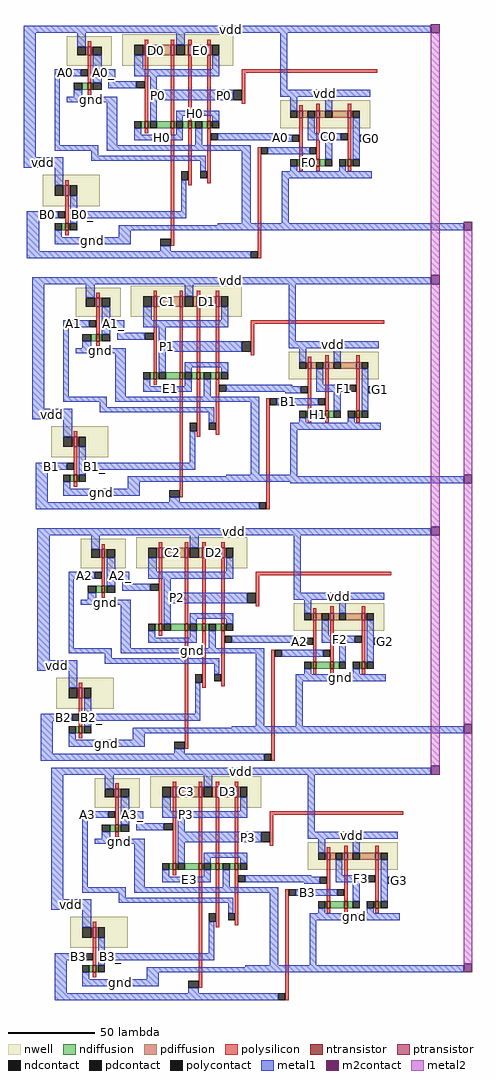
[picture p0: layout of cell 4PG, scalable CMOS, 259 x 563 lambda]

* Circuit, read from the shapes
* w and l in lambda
.subckt 4PG A0 A0_ A1 A1_ A2 A2_ A3 A3_ B0 B0_ B1 B1_ B2 B2_ B3 B3_ C0 C1 C2 C3 D0 D1 D2 D3 E0 E1 E2 E3 F0 F1 F2 F3 G0 G1 G2 G3 H0 H1 H2 P0 P1 P2 P3 gnd vdd
M1 B0_ B0 gnd VSUBS nfet w=4 l=2
M2 B1_ B1 gnd VSUBS nfet w=4 l=2
M3 B2_ B2 gnd VSUBS nfet w=4 l=2
M4 A0_ A0 gnd VSUBS nfet w=4 l=2
M5 B3_ B3 gnd VSUBS nfet w=4 l=2
M6 A1_ A1 gnd VSUBS nfet w=4 l=2
M7 A2_ A2 gnd VSUBS nfet w=4 l=2
M8 A3_ A3 gnd VSUBS nfet w=4 l=2
M9 P0 A0_ H0 VSUBS nfet w=4 l=2
M10 P1 A1_ E1 VSUBS nfet w=4 l=2
M11 P2 A2_ E2 VSUBS nfet w=4 l=2
M12 H0 B0 P0 VSUBS nfet w=4 l=2
M13 P3 A3_ E3 VSUBS nfet w=4 l=2
M14 E1 B1 P1 VSUBS nfet w=4 l=2
M15 E2 B2 P2 VSUBS nfet w=4 l=2
M16 gnd B0_ H0 VSUBS nfet w=4 l=2
M17 gnd B1_ E1 VSUBS nfet w=4 l=2
M18 E3 B3 P3 VSUBS nfet w=4 l=2
M19 gnd B2_ E2 VSUBS nfet w=4 l=2
M20 H0 A0 gnd VSUBS nfet w=4 l=2
M21 gnd B3_ E3 VSUBS nfet w=4 l=2
M22 E1 A1 gnd VSUBS nfet w=4 l=2
M23 E2 A2 gnd VSUBS nfet w=4 l=2
M24 E3 A3 gnd VSUBS nfet w=4 l=2
M25 F0 A0 gnd VSUBS nfet w=4 l=2
M26 H1 A1 gnd VSUBS nfet w=4 l=2
M27 H2 A2 gnd VSUBS nfet w=4 l=2
M28 C0 B0 F0 VSUBS nfet w=4 l=2
M29 F1 B1 H1 VSUBS nfet w=4 l=2
M30 n1 A3 gnd VSUBS nfet w=4 l=2
M31 F2 B2 H2 VSUBS nfet w=4 l=2
M32 F3 B3 n1 VSUBS nfet w=4 l=2
M33 G0 C0 gnd VSUBS nfet w=4 l=2
M34 G1 F1 gnd VSUBS nfet w=4 l=2
M35 G2 F2 gnd VSUBS nfet w=4 l=2
M36 G3 F3 gnd VSUBS nfet w=4 l=2
M37 B0_ B0 vdd n2 pfet w=6 l=2
M38 B1_ B1 vdd n3 pfet w=6 l=2
M39 B2_ B2 vdd n4 pfet w=6 l=2
M40 A0_ A0 vdd n5 pfet w=5 l=2
M41 B3_ B3 vdd n6 pfet w=6 l=2
M42 A1_ A1 vdd n7 pfet w=5 l=2
M43 A2_ A2 vdd n8 pfet w=5 l=2
M44 A3_ A3 vdd n9 pfet w=5 l=2
M45 D0 A0_ P0 n10 pfet w=6 l=2
M46 C1 A1_ P1 n11 pfet w=6 l=2
M47 C2 A2_ P2 n12 pfet w=6 l=2
M48 vdd B0 D0 n10 pfet w=6 l=2
M49 C3 A3_ P3 n13 pfet w=6 l=2
M50 vdd B1 C1 n11 pfet w=6 l=2
M51 vdd B2 C2 n12 pfet w=6 l=2
M52 E0 B0_ vdd n10 pfet w=6 l=2
M53 D1 B1_ vdd n11 pfet w=6 l=2
M54 vdd B3 C3 n13 pfet w=6 l=2
M55 D2 B2_ vdd n12 pfet w=6 l=2
M56 P0 A0 E0 n10 pfet w=6 l=2
M57 D3 B3_ vdd n13 pfet w=6 l=2
M58 P1 A1 D1 n11 pfet w=6 l=2
M59 P2 A2 D2 n12 pfet w=6 l=2
M60 P3 A3 D3 n13 pfet w=6 l=2
M61 C0 A0 vdd n14 pfet w=4 l=2
M62 F1 A1 vdd n15 pfet w=4 l=2
M63 F2 A2 vdd n16 pfet w=4 l=2
M64 vdd B0 C0 n14 pfet w=4 l=2
M65 vdd B1 F1 n15 pfet w=4 l=2
M66 F3 A3 vdd n17 pfet w=4 l=2
M67 vdd B2 F2 n16 pfet w=4 l=2
M68 vdd B3 F3 n17 pfet w=4 l=2
M69 G0 C0 vdd n14 pfet w=4 l=2
M70 G1 F1 vdd n15 pfet w=4 l=2
M71 G2 F2 vdd n16 pfet w=4 l=2
M72 G3 F3 vdd n17 pfet w=4 l=2
.ends

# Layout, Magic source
magic
tech scmos
<< nwell >>
rect -31 2 -5 19
rect 1 2 65 20
rect 92 -34 144 -18
rect -45 -79 -12 -61
rect -26 -143 0 -126
rect 6 -143 70 -125
rect 97 -179 149 -163
rect -40 -224 -7 -206
rect -23 -288 3 -271
rect 9 -288 73 -270
rect 100 -324 152 -308
rect -37 -369 -4 -351
rect -15 -426 11 -409
rect 17 -426 81 -408
rect 108 -462 160 -446
rect -29 -507 4 -489
<< ntransistor >>
rect -19 -12 -17 -8
rect 14 -34 16 -30
rect 29 -34 31 -30
rect 39 -34 41 -30
rect 50 -34 52 -30
rect -32 -93 -30 -89
rect 103 -56 105 -52
rect 113 -56 115 -52
rect 131 -56 133 -52
rect -14 -157 -12 -153
rect 19 -179 21 -175
rect 34 -179 36 -175
rect 44 -179 46 -175
rect 55 -179 57 -175
rect -27 -238 -25 -234
rect 108 -201 110 -197
rect 118 -201 120 -197
rect 136 -201 138 -197
rect -11 -302 -9 -298
rect 22 -324 24 -320
rect 37 -324 39 -320
rect 47 -324 49 -320
rect 58 -324 60 -320
rect -24 -383 -22 -379
rect 111 -346 113 -342
rect 121 -346 123 -342
rect 139 -346 141 -342
rect -3 -440 -1 -436
rect 30 -462 32 -458
rect 45 -462 47 -458
rect 55 -462 57 -458
rect 66 -462 68 -458
rect -16 -521 -14 -517
rect 119 -484 121 -480
rect 129 -484 131 -480
rect 147 -484 149 -480
<< ptransistor >>
rect -19 8 -17 13
rect 14 8 16 14
rect 29 8 31 14
rect 39 8 41 14
rect 50 8 52 14
rect 103 -28 105 -24
rect 113 -28 115 -24
rect 131 -28 133 -24
rect -32 -73 -30 -67
rect -14 -137 -12 -132
rect 19 -137 21 -131
rect 34 -137 36 -131
rect 44 -137 46 -131
rect 55 -137 57 -131
rect 108 -173 110 -169
rect 118 -173 120 -169
rect 136 -173 138 -169
rect -27 -218 -25 -212
rect -11 -282 -9 -277
rect 22 -282 24 -276
rect 37 -282 39 -276
rect 47 -282 49 -276
rect 58 -282 60 -276
rect 111 -318 113 -314
rect 121 -318 123 -314
rect 139 -318 141 -314
rect -24 -363 -22 -357
rect -3 -420 -1 -415
rect 30 -420 32 -414
rect 45 -420 47 -414
rect 55 -420 57 -414
rect 66 -420 68 -414
rect 119 -456 121 -452
rect 129 -456 131 -452
rect 147 -456 149 -452
rect -16 -501 -14 -495
<< ndiffusion >>
rect -22 -12 -19 -8
rect -17 -12 -16 -8
rect 12 -34 14 -30
rect 16 -34 17 -30
rect 21 -34 29 -30
rect 31 -34 32 -30
rect 36 -34 39 -30
rect 41 -34 43 -30
rect 47 -34 50 -30
rect 52 -34 53 -30
rect -34 -93 -32 -89
rect -30 -93 -29 -89
rect 102 -56 103 -52
rect 105 -56 113 -52
rect 115 -56 118 -52
rect 130 -56 131 -52
rect 133 -56 134 -52
rect -17 -157 -14 -153
rect -12 -157 -11 -153
rect 17 -179 19 -175
rect 21 -179 22 -175
rect 26 -179 34 -175
rect 36 -179 37 -175
rect 41 -179 44 -175
rect 46 -179 48 -175
rect 52 -179 55 -175
rect 57 -179 58 -175
rect -29 -238 -27 -234
rect -25 -238 -24 -234
rect 107 -201 108 -197
rect 110 -201 118 -197
rect 120 -201 123 -197
rect 135 -201 136 -197
rect 138 -201 139 -197
rect -14 -302 -11 -298
rect -9 -302 -8 -298
rect 20 -324 22 -320
rect 24 -324 25 -320
rect 29 -324 37 -320
rect 39 -324 40 -320
rect 44 -324 47 -320
rect 49 -324 51 -320
rect 55 -324 58 -320
rect 60 -324 61 -320
rect -26 -383 -24 -379
rect -22 -383 -21 -379
rect 110 -346 111 -342
rect 113 -346 121 -342
rect 123 -346 126 -342
rect 138 -346 139 -342
rect 141 -346 142 -342
rect -6 -440 -3 -436
rect -1 -440 0 -436
rect 28 -462 30 -458
rect 32 -462 33 -458
rect 37 -462 45 -458
rect 47 -462 48 -458
rect 52 -462 55 -458
rect 57 -462 59 -458
rect 63 -462 66 -458
rect 68 -462 69 -458
rect -18 -521 -16 -517
rect -14 -521 -13 -517
rect 118 -484 119 -480
rect 121 -484 129 -480
rect 131 -484 134 -480
rect 146 -484 147 -480
rect 149 -484 150 -480
<< pdiffusion >>
rect -20 8 -19 13
rect -17 8 -16 13
rect 13 8 14 14
rect 16 8 29 14
rect 31 8 32 14
rect 37 8 39 14
rect 41 8 50 14
rect 52 8 53 14
rect 102 -28 103 -24
rect 105 -28 108 -24
rect 112 -28 113 -24
rect 115 -28 118 -24
rect 122 -28 131 -24
rect 133 -28 134 -24
rect -33 -73 -32 -67
rect -30 -73 -29 -67
rect -15 -137 -14 -132
rect -12 -137 -11 -132
rect 18 -137 19 -131
rect 21 -137 34 -131
rect 36 -137 37 -131
rect 42 -137 44 -131
rect 46 -137 55 -131
rect 57 -137 58 -131
rect 107 -173 108 -169
rect 110 -173 113 -169
rect 117 -173 118 -169
rect 120 -173 123 -169
rect 127 -173 136 -169
rect 138 -173 139 -169
rect -28 -218 -27 -212
rect -25 -218 -24 -212
rect -12 -282 -11 -277
rect -9 -282 -8 -277
rect 21 -282 22 -276
rect 24 -282 37 -276
rect 39 -282 40 -276
rect 45 -282 47 -276
rect 49 -282 58 -276
rect 60 -282 61 -276
rect 110 -318 111 -314
rect 113 -318 116 -314
rect 120 -318 121 -314
rect 123 -318 126 -314
rect 130 -318 139 -314
rect 141 -318 142 -314
rect -25 -363 -24 -357
rect -22 -363 -21 -357
rect -4 -420 -3 -415
rect -1 -420 0 -415
rect 29 -420 30 -414
rect 32 -420 45 -414
rect 47 -420 48 -414
rect 53 -420 55 -414
rect 57 -420 66 -414
rect 68 -420 69 -414
rect 118 -456 119 -452
rect 121 -456 124 -452
rect 128 -456 129 -452
rect 131 -456 134 -452
rect 138 -456 147 -452
rect 149 -456 150 -452
rect -17 -501 -16 -495
rect -14 -501 -13 -495
<< ndcontact >>
rect -27 -12 -22 -8
rect -16 -12 -11 -8
rect 8 -34 12 -30
rect 17 -34 21 -30
rect 32 -34 36 -30
rect 43 -34 47 -30
rect 53 -34 57 -30
rect -38 -93 -34 -89
rect -29 -93 -25 -89
rect 98 -56 102 -52
rect 118 -56 122 -52
rect 126 -56 130 -52
rect 134 -56 138 -52
rect -22 -157 -17 -153
rect -11 -157 -6 -153
rect 13 -179 17 -175
rect 22 -179 26 -175
rect 37 -179 41 -175
rect 48 -179 52 -175
rect 58 -179 62 -175
rect -33 -238 -29 -234
rect -24 -238 -20 -234
rect 103 -201 107 -197
rect 123 -201 127 -197
rect 131 -201 135 -197
rect 139 -201 143 -197
rect -19 -302 -14 -298
rect -8 -302 -3 -298
rect 16 -324 20 -320
rect 25 -324 29 -320
rect 40 -324 44 -320
rect 51 -324 55 -320
rect 61 -324 65 -320
rect -30 -383 -26 -379
rect -21 -383 -17 -379
rect 106 -346 110 -342
rect 126 -346 130 -342
rect 134 -346 138 -342
rect 142 -346 146 -342
rect -11 -440 -6 -436
rect 0 -440 5 -436
rect 24 -462 28 -458
rect 33 -462 37 -458
rect 48 -462 52 -458
rect 59 -462 63 -458
rect 69 -462 73 -458
rect -22 -521 -18 -517
rect -13 -521 -9 -517
rect 114 -484 118 -480
rect 134 -484 138 -480
rect 142 -484 146 -480
rect 150 -484 154 -480
<< pdcontact >>
rect -25 8 -20 13
rect -16 8 -11 13
rect 8 8 13 14
rect 32 8 37 14
rect 53 8 57 14
rect 98 -28 102 -24
rect 108 -28 112 -24
rect 118 -28 122 -24
rect 134 -28 138 -24
rect -38 -73 -33 -67
rect -29 -73 -25 -67
rect -20 -137 -15 -132
rect -11 -137 -6 -132
rect 13 -137 18 -131
rect 37 -137 42 -131
rect 58 -137 62 -131
rect 103 -173 107 -169
rect 113 -173 117 -169
rect 123 -173 127 -169
rect 139 -173 143 -169
rect -33 -218 -28 -212
rect -24 -218 -20 -212
rect -17 -282 -12 -277
rect -8 -282 -3 -277
rect 16 -282 21 -276
rect 40 -282 45 -276
rect 61 -282 65 -276
rect 106 -318 110 -314
rect 116 -318 120 -314
rect 126 -318 130 -314
rect 142 -318 146 -314
rect -30 -363 -25 -357
rect -21 -363 -17 -357
rect -9 -420 -4 -415
rect 0 -420 5 -415
rect 24 -420 29 -414
rect 48 -420 53 -414
rect 69 -420 73 -414
rect 114 -456 118 -452
rect 124 -456 128 -452
rect 134 -456 138 -452
rect 150 -456 154 -452
rect -22 -501 -17 -495
rect -13 -501 -9 -495
<< polysilicon >>
rect -19 13 -17 16
rect 14 14 16 17
rect 29 14 31 17
rect 39 14 41 17
rect 50 14 52 17
rect -19 -8 -17 8
rect -19 -15 -17 -12
rect 14 -30 16 8
rect 29 -30 31 8
rect 39 -30 41 8
rect 50 -30 52 8
rect 70 -2 148 0
rect 70 -20 72 -2
rect 103 -24 105 -21
rect 113 -24 115 -20
rect 131 -24 133 -20
rect 14 -37 16 -34
rect -32 -67 -30 -64
rect -32 -89 -30 -73
rect -32 -96 -30 -93
rect 29 -102 31 -34
rect 39 -67 41 -34
rect 50 -66 52 -34
rect 79 -109 81 -45
rect 103 -52 105 -28
rect 113 -52 115 -28
rect 131 -52 133 -28
rect 103 -59 105 -56
rect 113 -59 115 -56
rect 131 -59 133 -56
rect -14 -132 -12 -129
rect 19 -131 21 -128
rect 34 -131 36 -128
rect 44 -131 46 -128
rect 55 -131 57 -128
rect -14 -153 -12 -137
rect -14 -160 -12 -157
rect 19 -175 21 -137
rect 34 -175 36 -137
rect 44 -175 46 -137
rect 55 -175 57 -137
rect 75 -147 152 -145
rect 75 -165 77 -147
rect 108 -169 110 -166
rect 118 -169 120 -165
rect 136 -169 138 -165
rect 19 -182 21 -179
rect -27 -212 -25 -209
rect -27 -234 -25 -218
rect -27 -241 -25 -238
rect 34 -247 36 -179
rect 44 -212 46 -179
rect 55 -211 57 -179
rect 84 -254 86 -190
rect 108 -197 110 -173
rect 118 -197 120 -173
rect 136 -197 138 -173
rect 108 -204 110 -201
rect 118 -204 120 -201
rect 136 -204 138 -201
rect -11 -277 -9 -274
rect 22 -276 24 -273
rect 37 -276 39 -273
rect 47 -276 49 -273
rect 58 -276 60 -273
rect -11 -298 -9 -282
rect -11 -305 -9 -302
rect 22 -320 24 -282
rect 37 -320 39 -282
rect 47 -320 49 -282
rect 58 -320 60 -282
rect 78 -292 156 -290
rect 78 -310 80 -292
rect 111 -314 113 -311
rect 121 -314 123 -310
rect 139 -314 141 -310
rect 22 -327 24 -324
rect -24 -357 -22 -354
rect -24 -379 -22 -363
rect -24 -386 -22 -383
rect 37 -392 39 -324
rect 47 -357 49 -324
rect 58 -356 60 -324
rect 87 -399 89 -335
rect 111 -342 113 -318
rect 121 -342 123 -318
rect 139 -342 141 -318
rect 111 -349 113 -346
rect 121 -349 123 -346
rect 139 -349 141 -346
rect -3 -415 -1 -412
rect 30 -414 32 -411
rect 45 -414 47 -411
rect 55 -414 57 -411
rect 66 -414 68 -411
rect -3 -436 -1 -420
rect -3 -443 -1 -440
rect 30 -458 32 -420
rect 45 -458 47 -420
rect 55 -458 57 -420
rect 66 -458 68 -420
rect 86 -430 163 -428
rect 86 -448 88 -430
rect 119 -452 121 -449
rect 129 -452 131 -448
rect 147 -452 149 -448
rect 30 -465 32 -462
rect -16 -495 -14 -492
rect -16 -517 -14 -501
rect -16 -524 -14 -521
rect 45 -530 47 -462
rect 55 -495 57 -462
rect 66 -494 68 -462
rect 95 -537 97 -473
rect 119 -480 121 -456
rect 129 -480 131 -456
rect 147 -480 149 -456
rect 119 -487 121 -484
rect 129 -487 131 -484
rect 147 -487 149 -484
<< polycontact >>
rect -23 -4 -19 0
rect 9 -11 14 -7
rect 65 -18 70 -12
rect -36 -86 -32 -82
rect 23 -102 29 -98
rect 35 -64 39 -59
rect 46 -63 50 -59
rect 52 -41 56 -37
rect 99 -42 103 -38
rect 75 -109 79 -105
rect 81 -49 85 -45
rect 109 -49 113 -45
rect 127 -41 131 -37
rect 138 -42 142 -38
rect -18 -149 -14 -145
rect 14 -156 19 -152
rect 70 -163 75 -157
rect -31 -231 -27 -227
rect 28 -247 34 -243
rect 40 -209 44 -204
rect 51 -208 55 -204
rect 57 -186 61 -182
rect 104 -187 108 -183
rect 80 -254 84 -250
rect 86 -194 90 -190
rect 114 -194 118 -190
rect 132 -186 136 -182
rect 143 -187 147 -183
rect -15 -294 -11 -290
rect 17 -301 22 -297
rect 73 -308 78 -302
rect -28 -376 -24 -372
rect 31 -392 37 -388
rect 43 -354 47 -349
rect 54 -353 58 -349
rect 60 -331 64 -327
rect 107 -332 111 -328
rect 83 -399 87 -395
rect 89 -339 93 -335
rect 117 -339 121 -335
rect 135 -331 139 -327
rect 146 -332 150 -328
rect -7 -432 -3 -428
rect 25 -439 30 -435
rect 81 -446 86 -440
rect -20 -514 -16 -510
rect 39 -530 45 -526
rect 51 -492 55 -487
rect 62 -491 66 -487
rect 68 -469 72 -465
rect 115 -470 119 -466
rect 91 -537 95 -533
rect 97 -477 101 -473
rect 125 -477 129 -473
rect 143 -469 147 -465
rect 154 -470 158 -466
<< metal1 >>
rect -56 21 179 25
rect -56 -51 -49 21
rect -25 13 -20 21
rect 32 14 37 21
rect -16 0 -11 8
rect 8 0 13 8
rect 53 0 57 8
rect -38 -4 -23 0
rect -16 -4 -3 0
rect 8 -4 57 0
rect -38 -44 -35 -4
rect -16 -8 -11 -4
rect -7 -7 -3 -4
rect -7 -11 9 -7
rect 17 -12 21 -4
rect 92 -12 96 21
rect -27 -16 -22 -12
rect -31 -19 -2 -16
rect -8 -44 -2 -19
rect 17 -18 65 -12
rect 92 -16 144 -12
rect 17 -30 21 -18
rect 98 -24 102 -16
rect 118 -24 122 -16
rect 32 -27 57 -24
rect 32 -30 36 -27
rect 53 -30 57 -27
rect 8 -38 12 -34
rect 32 -38 36 -34
rect 8 -41 36 -38
rect 43 -44 47 -34
rect 108 -37 112 -28
rect 56 -38 94 -37
rect 56 -41 99 -38
rect 90 -42 99 -41
rect 108 -41 127 -37
rect -38 -47 -13 -44
rect -8 -47 75 -44
rect -17 -50 -13 -47
rect -56 -57 -33 -51
rect -17 -53 49 -50
rect -38 -67 -33 -57
rect 46 -59 49 -53
rect -29 -82 -25 -73
rect 35 -82 38 -64
rect -54 -86 -36 -82
rect -29 -86 38 -82
rect -54 -105 -47 -86
rect -29 -89 -25 -86
rect 70 -89 75 -47
rect 85 -49 109 -45
rect 118 -52 122 -41
rect 134 -52 138 -28
rect 142 -42 148 -38
rect 98 -59 102 -56
rect 126 -59 130 -56
rect 93 -63 145 -59
rect 93 -89 97 -63
rect 56 -90 198 -89
rect -1 -93 198 -90
rect -38 -97 -34 -93
rect -1 -97 6 -93
rect -38 -101 6 -97
rect 23 -105 29 -102
rect -54 -109 75 -105
rect -51 -124 179 -120
rect -51 -196 -44 -124
rect -20 -132 -15 -124
rect 37 -131 42 -124
rect -11 -145 -6 -137
rect 13 -145 18 -137
rect 58 -145 62 -137
rect -33 -149 -18 -145
rect -11 -149 2 -145
rect 13 -149 62 -145
rect -33 -189 -30 -149
rect -11 -153 -6 -149
rect -2 -152 2 -149
rect -2 -156 14 -152
rect 22 -157 26 -149
rect 97 -157 101 -124
rect -22 -161 -17 -157
rect -26 -164 3 -161
rect -3 -189 3 -164
rect 22 -163 70 -157
rect 97 -161 149 -157
rect 22 -175 26 -163
rect 103 -169 107 -161
rect 123 -169 127 -161
rect 37 -172 62 -169
rect 37 -175 41 -172
rect 58 -175 62 -172
rect 13 -183 17 -179
rect 37 -183 41 -179
rect 13 -186 41 -183
rect 48 -189 52 -179
rect 113 -182 117 -173
rect 61 -183 99 -182
rect 61 -186 104 -183
rect 95 -187 104 -186
rect 113 -186 132 -182
rect -33 -192 -8 -189
rect -3 -192 80 -189
rect -12 -195 -8 -192
rect -51 -202 -28 -196
rect -12 -198 54 -195
rect -33 -212 -28 -202
rect 51 -204 54 -198
rect -24 -227 -20 -218
rect 40 -227 43 -209
rect -49 -231 -31 -227
rect -24 -231 43 -227
rect -49 -250 -42 -231
rect -24 -234 -20 -231
rect 75 -234 80 -192
rect 90 -194 114 -190
rect 123 -197 127 -186
rect 139 -197 143 -173
rect 147 -187 152 -183
rect 103 -204 107 -201
rect 131 -204 135 -201
rect 98 -208 150 -204
rect 98 -234 102 -208
rect 61 -235 102 -234
rect 4 -238 198 -235
rect -33 -242 -29 -238
rect 4 -242 11 -238
rect 98 -239 198 -238
rect -33 -246 11 -242
rect 28 -250 34 -247
rect -49 -254 80 -250
rect -48 -269 179 -265
rect -48 -341 -41 -269
rect -17 -277 -12 -269
rect 40 -276 45 -269
rect -8 -290 -3 -282
rect 16 -290 21 -282
rect 61 -290 65 -282
rect -30 -294 -15 -290
rect -8 -294 5 -290
rect 16 -294 65 -290
rect -30 -334 -27 -294
rect -8 -298 -3 -294
rect 1 -297 5 -294
rect 1 -301 17 -297
rect 25 -302 29 -294
rect 100 -302 104 -269
rect -19 -306 -14 -302
rect -23 -309 6 -306
rect 0 -334 6 -309
rect 25 -308 73 -302
rect 100 -306 152 -302
rect 25 -320 29 -308
rect 106 -314 110 -306
rect 126 -314 130 -306
rect 40 -317 65 -314
rect 40 -320 44 -317
rect 61 -320 65 -317
rect 16 -328 20 -324
rect 40 -328 44 -324
rect 16 -331 44 -328
rect 51 -334 55 -324
rect 116 -327 120 -318
rect 64 -328 102 -327
rect 64 -331 107 -328
rect 98 -332 107 -331
rect 116 -331 135 -327
rect -30 -337 -5 -334
rect 0 -337 83 -334
rect -9 -340 -5 -337
rect -48 -347 -25 -341
rect -9 -343 57 -340
rect -30 -357 -25 -347
rect 54 -349 57 -343
rect -21 -372 -17 -363
rect 43 -372 46 -354
rect -46 -376 -28 -372
rect -21 -376 46 -372
rect -46 -395 -39 -376
rect -21 -379 -17 -376
rect 78 -379 83 -337
rect 93 -339 117 -335
rect 126 -342 130 -331
rect 142 -342 146 -318
rect 150 -332 156 -328
rect 106 -349 110 -346
rect 134 -349 138 -346
rect 101 -353 153 -349
rect 101 -379 105 -353
rect 64 -380 198 -379
rect 7 -383 198 -380
rect -30 -387 -26 -383
rect 7 -387 14 -383
rect -30 -391 14 -387
rect 31 -395 37 -392
rect -46 -399 83 -395
rect -40 -407 179 -403
rect -40 -479 -33 -407
rect -9 -415 -4 -407
rect 48 -414 53 -407
rect 0 -428 5 -420
rect 24 -428 29 -420
rect 69 -428 73 -420
rect -22 -432 -7 -428
rect 0 -432 13 -428
rect 24 -432 73 -428
rect -22 -472 -19 -432
rect 0 -436 5 -432
rect 9 -435 13 -432
rect 9 -439 25 -435
rect 33 -440 37 -432
rect 108 -440 112 -407
rect -11 -444 -6 -440
rect -15 -447 14 -444
rect 8 -472 14 -447
rect 33 -446 81 -440
rect 108 -444 160 -440
rect 33 -458 37 -446
rect 114 -452 118 -444
rect 134 -452 138 -444
rect 48 -455 73 -452
rect 48 -458 52 -455
rect 69 -458 73 -455
rect 24 -466 28 -462
rect 48 -466 52 -462
rect 24 -469 52 -466
rect 59 -472 63 -462
rect 124 -465 128 -456
rect 72 -466 110 -465
rect 72 -469 115 -466
rect 106 -470 115 -469
rect 124 -469 143 -465
rect -22 -475 3 -472
rect 8 -475 91 -472
rect -1 -478 3 -475
rect -40 -485 -17 -479
rect -1 -481 65 -478
rect -22 -495 -17 -485
rect 62 -487 65 -481
rect -13 -510 -9 -501
rect 51 -510 54 -492
rect -38 -514 -20 -510
rect -13 -514 54 -510
rect -38 -533 -31 -514
rect -13 -517 -9 -514
rect 86 -517 91 -475
rect 101 -477 125 -473
rect 134 -480 138 -469
rect 150 -480 154 -456
rect 158 -470 163 -466
rect 114 -487 118 -484
rect 142 -487 146 -484
rect 109 -491 161 -487
rect 109 -517 113 -491
rect 72 -518 198 -517
rect 15 -521 198 -518
rect -22 -525 -18 -521
rect 15 -525 22 -521
rect -22 -529 22 -525
rect 39 -533 45 -530
rect -38 -537 91 -533
<< m2contact >>
rect 179 21 184 26
rect 198 -93 203 -88
rect 179 -124 184 -119
rect 198 -239 203 -234
rect 179 -269 184 -264
rect 198 -383 203 -378
rect 179 -407 184 -402
rect 198 -521 203 -516
<< metal2 >>
rect 179 -119 184 21
rect 179 -264 184 -124
rect 179 -402 184 -269
rect 198 -234 203 -93
rect 198 -378 203 -239
rect 198 -516 203 -383
<< labels >>
rlabel metal1 -32 -4 -32 0 1 A0
rlabel metal1 -42 -86 -42 -82 1 B0
rlabel metal1 -10 -4 -10 0 1 A0_
rlabel metal1 -22 -86 -22 -82 1 B0_
rlabel metal1 -56 -57 -33 -51 1 vdd
rlabel pdiffusion 21 8 21 14 1 D0
rlabel pdiffusion 46 8 46 14 1 E0
rlabel metal1 92 -42 92 -37 1 A0
rlabel metal1 92 -49 92 -45 1 B0
rlabel ndiffusion 109 -56 109 -52 1 F0
rlabel metal1 145 -42 145 -38 1 G0
rlabel metal1 22 -18 22 -12 1 P0
rlabel metal1 60 -18 60 -12 1 P0
rlabel metal1 120 -41 120 -37 1 C0
rlabel metal1 -38 -101 6 -97 1 gnd
rlabel metal1 -31 -19 -2 -16 1 gnd
rlabel metal1 24 -41 24 -38 1 H0
rlabel metal1 43 -27 43 -24 1 H0
rlabel metal1 92 -16 144 -12 1 vdd
rlabel metal1 93 -63 145 -59 1 gnd
rlabel metal1 -8 -47 75 -44 1 gnd
rlabel ndiffusion 114 -201 114 -197 1 H1
rlabel metal1 150 -187 150 -183 1 G1
rlabel metal1 129 -186 129 -182 1 F1
rlabel metal1 97 -194 97 -190 1 B1
rlabel metal1 97 -187 97 -182 1 A1
rlabel metal1 29 -186 29 -183 1 E1
rlabel pdiffusion 50 -137 50 -131 1 D1
rlabel pdiffusion 27 -137 27 -131 1 C1
rlabel metal1 27 -163 27 -157 1 P1
rlabel metal1 -15 -231 -15 -227 1 B1_
rlabel metal1 -40 -231 -40 -227 1 B1
rlabel metal1 -4 -149 -4 -145 1 A1_
rlabel metal1 -27 -149 -27 -145 1 A1
rlabel metal1 98 -208 150 -204 1 gnd
rlabel metal1 -3 -192 80 -189 1 gnd
rlabel metal1 -26 -164 3 -161 1 gnd
rlabel metal1 -33 -246 11 -242 1 gnd
rlabel metal1 97 -161 149 -157 1 vdd
rlabel metal1 -51 -202 -28 -196 1 vdd
rlabel metal1 -23 -309 6 -306 1 gnd
rlabel metal1 -30 -391 14 -387 1 gnd
rlabel metal1 0 -337 83 -334 1 gnd
rlabel metal1 101 -353 153 -349 1 gnd
rlabel metal1 -48 -347 -25 -341 1 vdd
rlabel metal1 100 -306 152 -302 1 vdd
rlabel metal1 -21 -294 -21 -290 1 A2
rlabel metal1 0 -294 0 -290 1 A2_
rlabel metal1 -33 -376 -33 -372 1 B2
rlabel metal1 -17 -376 -17 -372 1 B2_
rlabel metal1 33 -308 33 -302 1 P2
rlabel pdiffusion 30 -282 30 -276 1 C2
rlabel pdiffusion 54 -282 54 -276 1 D2
rlabel metal1 31 -331 31 -328 1 E2
rlabel metal1 103 -332 103 -328 1 A2
rlabel metal1 105 -339 105 -335 1 B2
rlabel metal1 127 -331 127 -327 1 F2
rlabel ndiffusion 117 -346 117 -342 1 H2
rlabel metal1 153 -332 153 -328 1 G2
rlabel metal1 161 -470 161 -466 1 G3
rlabel metal1 139 -469 139 -465 1 F3
rlabel metal1 108 -477 108 -473 1 B3
rlabel metal1 110 -470 110 -466 1 A3
rlabel metal1 74 -446 74 -440 1 P3
rlabel metal1 40 -469 40 -466 1 E3
rlabel pdiffusion 62 -420 62 -414 1 D3
rlabel pdiffusion 38 -420 38 -414 1 C3
rlabel metal1 38 -432 38 -428 1 P3
rlabel metal1 -6 -514 -6 -510 1 B3_
rlabel metal1 -24 -514 -24 -510 1 B3
rlabel metal1 7 -432 7 -428 1 A3_
rlabel metal1 -19 -432 -19 -428 1 A3
rlabel metal1 109 -491 161 -487 1 gnd
rlabel metal1 8 -475 91 -472 1 gnd
rlabel metal1 -15 -447 14 -444 1 gnd
rlabel metal1 -22 -529 22 -525 1 gnd
rlabel metal1 108 -444 160 -440 1 vdd
rlabel metal1 -40 -485 -17 -479 1 vdd
rlabel metal1 -56 21 184 25 5 vdd
rlabel metal1 -51 -124 179 -120 1 vdd
rlabel metal1 -48 -269 179 -265 1 vdd
rlabel metal1 -40 -407 179 -403 1 vdd
<< end >>
